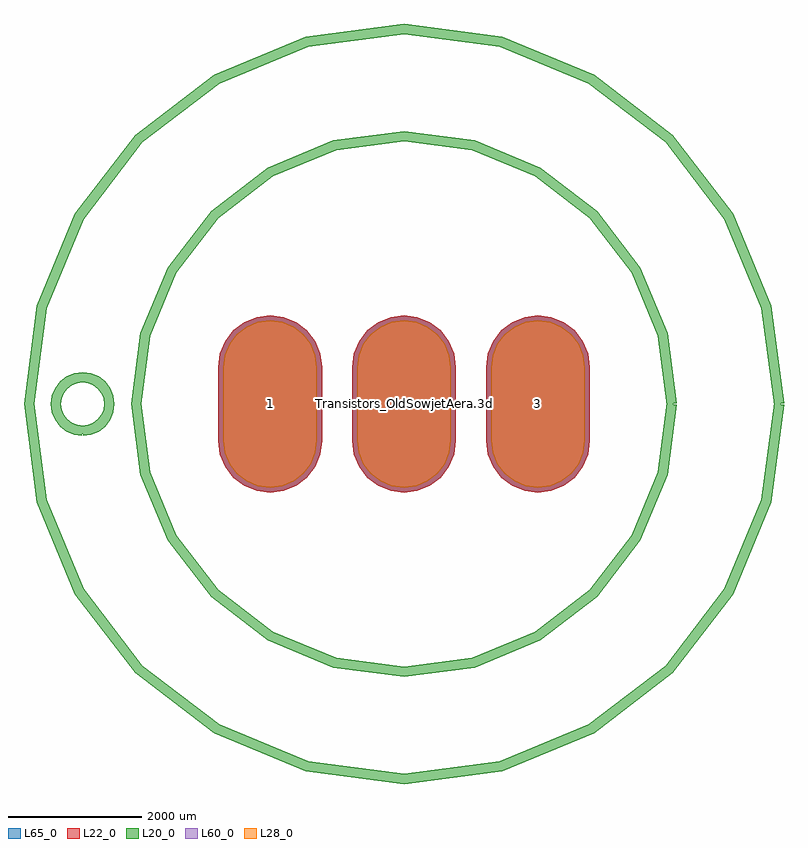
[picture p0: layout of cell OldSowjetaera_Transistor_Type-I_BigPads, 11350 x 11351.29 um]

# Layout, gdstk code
import gdstk
lib = gdstk.Library(unit=1e-6, precision=1e-09)
def P(c, l, *ps):  # polygons
    for p in ps: c.add(gdstk.Polygon(p, *l))
L20_0 = (20, 0)
L22_0 = (22, 0)
L28_0 = (28, 0)
L60_0 = (60, 0)
L65_0 = (65, 0)

oldsowjetaera_transistor = lib.new_cell('OldSowjetaera_Transistor_Type-I_BigPads')
P(oldsowjetaera_transistor, L22_0, [(2000,-1325),(2200.585,-1298.593),(2387.5,-1221.17),(2548.008,-1098.008),(2671.17,-937.5),(2748.593,-750.585),(2775,-550),(2775,550),(2748.593,750.585),(2671.17,937.5),(2548.008,1098.008),(2387.5,1221.17),(2200.585,1298.593),(2000,1325),(1799.415,1298.593),(1612.5,1221.17),(1451.992,1098.008),(1328.83,937.5),(1251.407,750.585),(1225,550),(1225,-550),(1251.407,-750.585),(1328.83,-937.5),(1451.992,-1098.008),(1612.5,-1221.17),(1799.415,-1298.593)],
  [(-2000,-1325),(-1799.415,-1298.593),(-1612.5,-1221.17),(-1451.992,-1098.008),(-1328.83,-937.5),(-1251.407,-750.585),(-1225,-550),(-1225,550),(-1251.407,750.585),(-1328.83,937.5),(-1451.992,1098.008),(-1612.5,1221.17),(-1799.415,1298.593),(-2000,1325),(-2200.585,1298.593),(-2387.5,1221.17),(-2548.008,1098.008),(-2671.17,937.5),(-2748.593,750.585),(-2775,550),(-2775,-550),(-2748.593,-750.585),(-2671.17,-937.5),(-2548.008,-1098.008),(-2387.5,-1221.17),(-2200.585,-1298.593)],
  [(0,-1325),(200.585,-1298.593),(387.5,-1221.17),(548.008,-1098.008),(671.17,-937.5),(748.593,-750.585),(775,-550),(775,550),(748.593,750.585),(671.17,937.5),(548.008,1098.008),(387.5,1221.17),(200.585,1298.593),(0,1325),(-200.585,1298.593),(-387.5,1221.17),(-548.008,1098.008),(-671.17,937.5),(-748.593,750.585),(-775,550),(-775,-550),(-748.593,-750.585),(-671.17,-937.5),(-548.008,-1098.008),(-387.5,-1221.17),(-200.585,-1298.593)])
P(oldsowjetaera_transistor, L28_0, [(2000,-1250),(2181.173,-1226.148),(2350,-1156.218),(2494.975,-1044.975),(2606.218,-900),(2676.148,-731.173),(2700,-550),(2700,550),(2676.148,731.173),(2606.218,900),(2494.975,1044.975),(2350,1156.218),(2181.173,1226.148),(2000,1250),(1818.827,1226.148),(1650,1156.218),(1505.025,1044.975),(1393.782,900),(1323.852,731.173),(1300,550),(1300,-550),(1323.852,-731.173),(1393.782,-900),(1505.025,-1044.975),(1650,-1156.218),(1818.827,-1226.148)],
  [(-2000,-1250),(-1818.827,-1226.148),(-1650,-1156.218),(-1505.025,-1044.975),(-1393.782,-900),(-1323.852,-731.173),(-1300,-550),(-1300,550),(-1323.852,731.173),(-1393.782,900),(-1505.025,1044.975),(-1650,1156.218),(-1818.827,1226.148),(-2000,1250),(-2181.173,1226.148),(-2350,1156.218),(-2494.975,1044.975),(-2606.218,900),(-2676.148,731.173),(-2700,550),(-2700,-550),(-2676.148,-731.173),(-2606.218,-900),(-2494.975,-1044.975),(-2350,-1156.218),(-2181.173,-1226.148)],
  [(0,-1250),(181.173,-1226.148),(350,-1156.218),(494.975,-1044.975),(606.218,-900),(676.148,-731.173),(700,-550),(700,550),(676.148,731.173),(606.218,900),(494.975,1044.975),(350,1156.218),(181.173,1226.148),(0,1250),(-181.173,1226.148),(-350,1156.218),(-494.975,1044.975),(-606.218,900),(-676.148,731.173),(-700,550),(-700,-550),(-676.148,-731.173),(-606.218,-900),(-494.975,-1044.975),(-350,-1156.218),(-181.173,-1226.148)])
P(oldsowjetaera_transistor, L60_0, [(2000,-1250),(2181.173,-1226.148),(2350,-1156.218),(2494.975,-1044.975),(2606.218,-900),(2676.148,-731.173),(2700,-550),(2700,550),(2676.148,731.173),(2606.218,900),(2494.975,1044.975),(2350,1156.218),(2181.173,1226.148),(2000,1250),(1818.827,1226.148),(1650,1156.218),(1505.025,1044.975),(1393.782,900),(1323.852,731.173),(1300,550),(1300,-550),(1323.852,-731.173),(1393.782,-900),(1505.025,-1044.975),(1650,-1156.218),(1818.827,-1226.148)],
  [(-2000,-1250),(-1818.827,-1226.148),(-1650,-1156.218),(-1505.025,-1044.975),(-1393.782,-900),(-1323.852,-731.173),(-1300,-550),(-1300,550),(-1323.852,731.173),(-1393.782,900),(-1505.025,1044.975),(-1650,1156.218),(-1818.827,1226.148),(-2000,1250),(-2181.173,1226.148),(-2350,1156.218),(-2494.975,1044.975),(-2606.218,900),(-2676.148,731.173),(-2700,550),(-2700,-550),(-2676.148,-731.173),(-2606.218,-900),(-2494.975,-1044.975),(-2350,-1156.218),(-2181.173,-1226.148)],
  [(0,-1250),(181.173,-1226.148),(350,-1156.218),(494.975,-1044.975),(606.218,-900),(676.148,-731.173),(700,-550),(700,550),(676.148,731.173),(606.218,900),(494.975,1044.975),(350,1156.218),(181.173,1226.148),(0,1250),(-181.173,1226.148),(-350,1156.218),(-494.975,1044.975),(-606.218,900),(-676.148,731.173),(-700,550),(-700,-550),(-676.148,-731.173),(-606.218,-900),(-494.975,-1044.975),(-350,-1156.218),(-181.173,-1226.148)])
P(oldsowjetaera_transistor, L65_0, [(2000,-1325),(2200.585,-1298.593),(2387.5,-1221.17),(2548.008,-1098.008),(2671.17,-937.5),(2748.593,-750.585),(2775,-550),(2775,550),(2748.593,750.585),(2671.17,937.5),(2548.008,1098.008),(2387.5,1221.17),(2200.585,1298.593),(2000,1325),(1799.415,1298.593),(1612.5,1221.17),(1451.992,1098.008),(1328.83,937.5),(1251.407,750.585),(1225,550),(1225,-550),(1251.407,-750.585),(1328.83,-937.5),(1451.992,-1098.008),(1612.5,-1221.17),(1799.415,-1298.593)],
  [(-2000,-1325),(-1799.415,-1298.593),(-1612.5,-1221.17),(-1451.992,-1098.008),(-1328.83,-937.5),(-1251.407,-750.585),(-1225,-550),(-1225,550),(-1251.407,750.585),(-1328.83,937.5),(-1451.992,1098.008),(-1612.5,1221.17),(-1799.415,1298.593),(-2000,1325),(-2200.585,1298.593),(-2387.5,1221.17),(-2548.008,1098.008),(-2671.17,937.5),(-2748.593,750.585),(-2775,550),(-2775,-550),(-2748.593,-750.585),(-2671.17,-937.5),(-2548.008,-1098.008),(-2387.5,-1221.17),(-2200.585,-1298.593)],
  [(0,-1325),(200.585,-1298.593),(387.5,-1221.17),(548.008,-1098.008),(671.17,-937.5),(748.593,-750.585),(775,-550),(775,550),(748.593,750.585),(671.17,937.5),(548.008,1098.008),(387.5,1221.17),(200.585,1298.593),(0,1325),(-200.585,1298.593),(-387.5,1221.17),(-548.008,1098.008),(-671.17,937.5),(-748.593,750.585),(-775,550),(-775,-550),(-748.593,-750.585),(-671.17,-937.5),(-548.008,-1098.008),(-387.5,-1221.17),(-200.585,-1298.593)])
oldsowjetaera_transistor.add(gdstk.FlexPath([(5600,0),(5409.185,1449.387),(4849.742,2800),(3959.798,3959.798),(2800,4849.742),(1449.387,5409.185),(0,5600),(-1449.387,5409.185),(-2800,4849.742),(-3959.798,3959.798),(-4849.742,2800),(-5409.185,1449.387),(-5600,0),(-5409.185,-1449.387),(-4849.742,-2800),(-3959.798,-3959.798),(-2800,-4849.742),(-1449.387,-5409.185),(0,-5600),(1449.387,-5409.185),(2800,-4849.742),(3959.798,-3959.798),(4849.742,-2800),(5409.185,-1449.387),(5600,0)], 149.998, ends="flush", simple_path=True, layer=20, datatype=0))  # L20_0
oldsowjetaera_transistor.add(gdstk.FlexPath([(4000,0),(3863.703,1035.276),(3464.102,2000),(2828.427,2828.427),(2000,3464.102),(1035.276,3863.703),(0,4000),(-1035.276,3863.703),(-2000,3464.102),(-2828.427,2828.427),(-3464.102,2000),(-3863.703,1035.276),(-4000,0),(-3863.703,-1035.276),(-3464.102,-2000),(-2828.427,-2828.427),(-2000,-3464.102),(-1035.276,-3863.703),(0,-4000),(1035.276,-3863.703),(2000,-3464.102),(2828.427,-2828.427),(3464.102,-2000),(3863.703,-1035.276),(4000,0)], 149.998, ends="flush", simple_path=True, layer=20, datatype=0))  # L20_0
oldsowjetaera_transistor.add(gdstk.FlexPath([(-4800,-400),(-4696.472,-386.37),(-4600,-346.41),(-4517.157,-282.843),(-4453.59,-200),(-4413.63,-103.528),(-4400,0),(-4413.63,103.528),(-4453.59,200),(-4517.157,282.843),(-4600,346.41),(-4696.472,386.37),(-4800,400),(-4903.528,386.37),(-5000,346.41),(-5082.843,282.843),(-5146.41,200),(-5186.37,103.528),(-5200,0),(-5186.37,-103.528),(-5146.41,-200),(-5082.843,-282.843),(-5000,-346.41),(-4903.528,-386.37),(-4800,-400)], 149.998, ends="flush", simple_path=True, layer=20, datatype=0))  # L20_0
oldsowjetaera_transistor.add(gdstk.Label('Transistors_OldSowjetAera.3dshapes/OldSowjetaera_Transistor_Type-I_BigPads.wrl', (0,0), layer=12, texttype=0))
oldsowjetaera_transistor.add(gdstk.Label('3', (2000,0), layer=28, texttype=0))
oldsowjetaera_transistor.add(gdstk.Label('1', (-2000,0), layer=28, texttype=0))
oldsowjetaera_transistor.add(gdstk.Label('2', (0,0), layer=28, texttype=0))
oldsowjetaera_transistor.add(gdstk.Label('type', (100,-7600), layer=9, texttype=0))
oldsowjetaera_transistor.add(gdstk.Label('devicename', (100,8100), layer=9, texttype=0))

lib.write_gds('OldSowjetaera_Transistor_Type-I_BigPads.gds')
